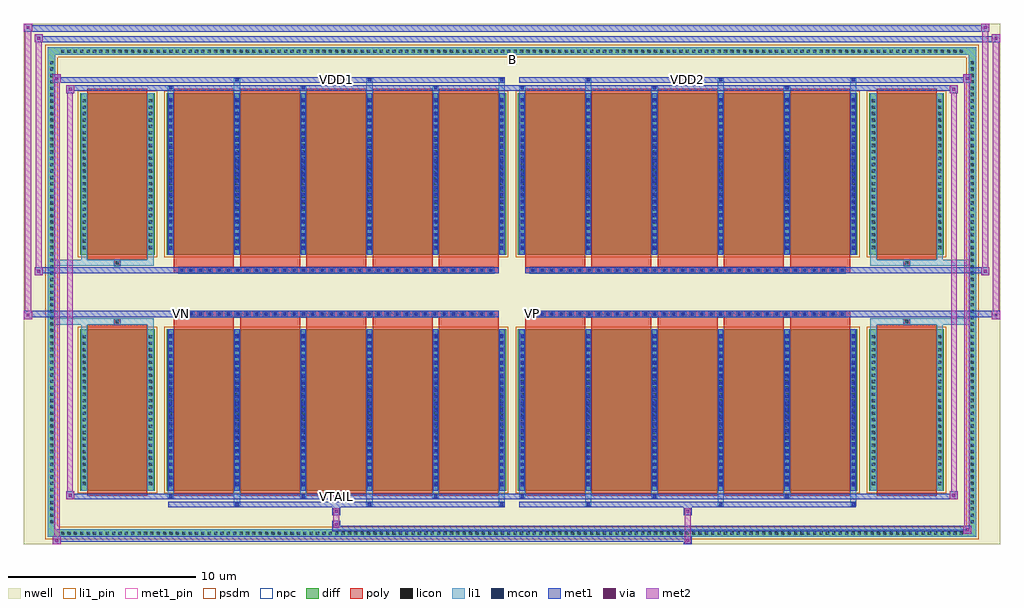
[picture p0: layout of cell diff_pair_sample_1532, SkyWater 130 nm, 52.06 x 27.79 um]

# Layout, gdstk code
import gdstk
lib = gdstk.Library(unit=1e-6, precision=5e-09)
def R(c, l, rs):  # rectangles x0, y0, x1, y1
    for r in rs: c.add(gdstk.rectangle(r[:2], r[2:], *l))
def A(c, l, x, y, w, h, nx, ny, dx, dy):  # array of equal rectangles
    R(c, l, [(x+i*dx, y+j*dy, x+i*dx+w, y+j*dy+h) for i in range(nx) for j in range(ny)])
def P(c, l, *ps):  # polygons
    for p in ps: c.add(gdstk.Polygon(p, *l))
nwell = (64, 20)
diff = (65, 20)
poly = (66, 20)
licon = (66, 44)
li1_pin = (67, 16)
li1 = (67, 20)
mcon = (67, 44)
met1_pin = (68, 16)
met1 = (68, 20)
via = (68, 44)
met2 = (69, 20)
psdm = (94, 20)
npc = (95, 20)

diff_pair_sample_1532 = lib.new_cell('diff_pair_sample_1532')
R(diff_pair_sample_1532, nwell, [(-26.03,-13.46,26.03,14.33), (-23.35,-11.65,-0.01,-0.805), (0.01,-11.65,23.35,-0.805), (-23.35,0.805,-0.01,11.65), (0.01,0.805,23.35,11.65)])
A(diff_pair_sample_1532, diff, -24.175, -13.06, 0.41, 0.41, 142, 2, 0.34, 25.71)
A(diff_pair_sample_1532, diff, -24.76, -12.445, 0.41, 0.41, 1, 73, 0, 0.34)
A(diff_pair_sample_1532, diff, 24.35, -12.445, 0.41, 0.41, 1, 73, 0, 0.34)
R(diff_pair_sample_1532, diff, [(-24.175,-13.06,24.175,-12.65), (-24.76,-12.445,-24.35,12.445), (24.35,-12.445,24.76,12.445), (-23.04,-10.605,-19.06,-1.985), (-18.42,-10.605,-0.32,-1.985), (0.32,-10.605,18.42,-1.985), (19.06,-10.605,23.04,-1.985), (-23.04,1.985,-19.06,10.605), (-18.42,1.985,-0.32,10.605), (0.32,1.985,18.42,10.605), (19.06,1.985,23.04,10.605), (-24.175,12.65,24.175,13.06)])
P(diff_pair_sample_1532, diff, [(24.76,13.06),(-24.76,13.06),(-24.76,-12.65),(-24.35,-12.65),(-24.35,12.65),(24.35,12.65),(24.35,-12.65),(-24.35,-12.65),(-24.76,-12.65),(-24.76,-13.06),(24.76,-13.06)])
A(diff_pair_sample_1532, poly, -18.03, -10.855, 3.2, 9.12, 5, 2, 3.53, 12.59)
A(diff_pair_sample_1532, poly, 0.71, -10.855, 3.2, 9.12, 5, 2, 3.53, 12.59)
A(diff_pair_sample_1532, poly, -18.03, -1.735, 3.2, 0.4, 5, 2, 3.53, 3.07)
A(diff_pair_sample_1532, poly, 0.71, -1.735, 3.2, 0.4, 5, 2, 3.53, 3.07)
A(diff_pair_sample_1532, poly, -17.785, -1.335, 0.33, 0.33, 34, 2, 0.5, 2.34)
A(diff_pair_sample_1532, poly, 0.955, -1.335, 0.33, 0.33, 34, 2, 0.5, 2.34)
R(diff_pair_sample_1532, poly, [(-22.65,-10.855,-19.45,-1.735), (19.45,-10.855,22.65,-1.735), (-21.215,-1.735,-20.885,-1.405), (-21.215,-1.735,-20.885,-1.405), (20.885,-1.735,21.215,-1.405), (20.885,-1.735,21.215,-1.405), (-18.03,-1.335,-0.71,-1.005), (0.71,-1.335,18.03,-1.005), (-18.03,1.005,-0.71,1.335), (0.71,1.005,18.03,1.335), (-21.215,1.405,-20.885,1.735), (-21.215,1.405,-20.885,1.735), (20.885,1.405,21.215,1.735), (20.885,1.405,21.215,1.735), (-22.65,1.735,-19.45,10.855), (19.45,1.735,22.65,10.855)])
A(diff_pair_sample_1532, licon, -24.055, -12.94, 0.17, 0.17, 142, 2, 0.34, 25.71)
A(diff_pair_sample_1532, licon, -24.64, -12.325, 0.17, 0.17, 1, 73, 0, 0.34)
A(diff_pair_sample_1532, licon, 24.47, -12.325, 0.17, 0.17, 1, 73, 0, 0.34)
A(diff_pair_sample_1532, licon, -22.9, -10.29, 0.17, 0.17, 1, 24, 0, 0.34)
A(diff_pair_sample_1532, licon, -19.37, -10.29, 0.17, 0.17, 1, 24, 0, 0.34)
A(diff_pair_sample_1532, licon, -18.28, -10.29, 0.17, 0.17, 6, 24, 3.53, 0.34)
A(diff_pair_sample_1532, licon, 0.46, -10.29, 0.17, 0.17, 6, 24, 3.53, 0.34)
A(diff_pair_sample_1532, licon, 19.2, -10.29, 0.17, 0.17, 1, 24, 0, 0.34)
A(diff_pair_sample_1532, licon, 22.73, -10.29, 0.17, 0.17, 1, 24, 0, 0.34)
A(diff_pair_sample_1532, licon, -17.705, -1.255, 0.17, 0.17, 34, 2, 0.5, 2.34)
A(diff_pair_sample_1532, licon, 1.035, -1.255, 0.17, 0.17, 34, 2, 0.5, 2.34)
A(diff_pair_sample_1532, licon, -22.9, 2.3, 0.17, 0.17, 1, 24, 0, 0.34)
A(diff_pair_sample_1532, licon, -19.37, 2.3, 0.17, 0.17, 1, 24, 0, 0.34)
A(diff_pair_sample_1532, licon, -18.28, 2.3, 0.17, 0.17, 6, 24, 3.53, 0.34)
A(diff_pair_sample_1532, licon, 0.46, 2.3, 0.17, 0.17, 6, 24, 3.53, 0.34)
A(diff_pair_sample_1532, licon, 19.2, 2.3, 0.17, 0.17, 1, 24, 0, 0.34)
A(diff_pair_sample_1532, licon, 22.73, 2.3, 0.17, 0.17, 1, 24, 0, 0.34)
R(diff_pair_sample_1532, licon, [(-21.135,-1.655,-20.965,-1.485), (20.965,-1.655,21.135,-1.485), (-21.135,1.485,-20.965,1.655), (20.965,1.485,21.135,1.655)])
R(diff_pair_sample_1532, li1_pin, [(-0.25,12.15,0.25,12.65)])
A(diff_pair_sample_1532, li1, -24.135, -13.02, 0.33, 0.33, 142, 2, 0.34, 25.71)
A(diff_pair_sample_1532, li1, -24.72, -12.405, 0.33, 0.33, 1, 73, 0, 0.34)
A(diff_pair_sample_1532, li1, 24.39, -12.405, 0.33, 0.33, 1, 73, 0, 0.34)
A(diff_pair_sample_1532, li1, -14.83, -11.41, 0.33, 0.805, 3, 2, 7.06, 22.015)
A(diff_pair_sample_1532, li1, -14.75, -11.41, 0.17, 0.17, 3, 2, 7.06, 22.65)
A(diff_pair_sample_1532, li1, 3.91, -11.41, 0.33, 0.805, 3, 2, 7.06, 22.015)
A(diff_pair_sample_1532, li1, 3.99, -11.41, 0.17, 0.17, 3, 2, 7.06, 22.65)
A(diff_pair_sample_1532, li1, -18.36, -10.98, 0.33, 0.375, 3, 2, 7.06, 21.585)
A(diff_pair_sample_1532, li1, -18.28, -10.98, 0.17, 0.17, 3, 2, 7.06, 21.79)
A(diff_pair_sample_1532, li1, 0.38, -10.98, 0.33, 0.375, 3, 2, 7.06, 21.585)
A(diff_pair_sample_1532, li1, 0.46, -10.98, 0.17, 0.17, 3, 2, 7.06, 21.79)
A(diff_pair_sample_1532, li1, -18.36, -10.605, 0.33, 8.62, 6, 2, 3.53, 12.59)
A(diff_pair_sample_1532, li1, 0.38, -10.605, 0.33, 8.62, 6, 2, 3.53, 12.59)
A(diff_pair_sample_1532, li1, -22.98, -10.37, 0.33, 0.33, 1, 24, 0, 0.34)
A(diff_pair_sample_1532, li1, -19.45, -10.37, 0.33, 0.33, 1, 24, 0, 0.34)
A(diff_pair_sample_1532, li1, -18.36, -10.37, 0.33, 0.33, 6, 24, 3.53, 0.34)
A(diff_pair_sample_1532, li1, 0.38, -10.37, 0.33, 0.33, 6, 24, 3.53, 0.34)
A(diff_pair_sample_1532, li1, 19.12, -10.37, 0.33, 0.33, 1, 24, 0, 0.34)
A(diff_pair_sample_1532, li1, 22.65, -10.37, 0.33, 0.33, 1, 24, 0, 0.34)
A(diff_pair_sample_1532, li1, -18.28, -10.34, 0.17, 0.17, 6, 23, 3.53, 0.36)
A(diff_pair_sample_1532, li1, -18.28, -10.34, 0.17, 8.09, 6, 2, 3.53, 12.59)
A(diff_pair_sample_1532, li1, 0.46, -10.34, 0.17, 0.17, 6, 23, 3.53, 0.36)
A(diff_pair_sample_1532, li1, 0.46, -10.34, 0.17, 8.09, 6, 2, 3.53, 12.59)
A(diff_pair_sample_1532, li1, -17.785, -1.335, 0.33, 0.33, 34, 2, 0.5, 2.34)
A(diff_pair_sample_1532, li1, 0.955, -1.335, 0.33, 0.33, 34, 2, 0.5, 2.34)
A(diff_pair_sample_1532, li1, -22.98, 2.22, 0.33, 0.33, 1, 24, 0, 0.34)
A(diff_pair_sample_1532, li1, -19.45, 2.22, 0.33, 0.33, 1, 24, 0, 0.34)
A(diff_pair_sample_1532, li1, -18.36, 2.22, 0.33, 0.33, 6, 24, 3.53, 0.34)
A(diff_pair_sample_1532, li1, 0.38, 2.22, 0.33, 0.33, 6, 24, 3.53, 0.34)
A(diff_pair_sample_1532, li1, 19.12, 2.22, 0.33, 0.33, 1, 24, 0, 0.34)
A(diff_pair_sample_1532, li1, 22.65, 2.22, 0.33, 0.33, 1, 24, 0, 0.34)
A(diff_pair_sample_1532, li1, -18.28, 2.25, 0.17, 0.17, 6, 23, 3.53, 0.36)
A(diff_pair_sample_1532, li1, 0.46, 2.25, 0.17, 0.17, 6, 23, 3.53, 0.36)
R(diff_pair_sample_1532, li1, [(-24.76,-13.06,-24.35,-12.65), (-24.76,-13.06,-24.35,-12.65), (-24.35,-13.06,24.35,-12.65), (24.35,-13.06,24.76,-12.65), (24.35,-13.06,24.76,-12.65), (-24.76,-12.65,-24.35,12.65), (24.35,-12.65,24.76,12.65), (-22.98,-10.605,-22.65,-1.985), (-19.45,-10.605,-19.12,-1.985), (19.12,-10.605,19.45,-1.985), (22.65,-10.605,22.98,-1.985), (-22.98,-1.985,-22.65,-1.405), (-19.45,-1.985,-19.12,-1.405), (19.12,-1.985,19.45,-1.405), (22.65,-1.985,22.98,-1.405), (-24.76,-1.735,-21.215,-1.405), (-22.98,-1.735,-21.215,-1.405), (-21.215,-1.735,-20.885,-1.405), (-20.885,-1.735,-19.12,-1.405), (19.12,-1.735,20.885,-1.405), (20.885,-1.735,21.215,-1.405), (20.885,-1.735,24.76,-1.405), (21.215,-1.735,22.98,-1.405), (-24.76,1.405,-21.215,1.735), (-22.98,1.405,-21.215,1.735), (-22.98,1.405,-22.65,1.985), (-21.215,1.405,-20.885,1.735), (-20.885,1.405,-19.12,1.735), (-19.45,1.405,-19.12,1.985), (19.12,1.405,20.885,1.735), (19.12,1.405,19.45,1.985), (20.885,1.405,21.215,1.735), (20.885,1.405,24.76,1.735), (21.215,1.405,22.98,1.735), (22.65,1.405,22.98,1.985), (-22.98,1.985,-22.65,10.605), (-19.45,1.985,-19.12,10.605), (19.12,1.985,19.45,10.605), (22.65,1.985,22.98,10.605), (-24.76,12.65,-24.35,13.06), (-24.76,12.65,-24.35,13.06), (-24.35,12.65,24.35,13.06), (24.35,12.65,24.76,13.06), (24.35,12.65,24.76,13.06)])
A(diff_pair_sample_1532, mcon, -14.75, -11.41, 0.17, 0.17, 3, 2, 7.06, 22.65)
A(diff_pair_sample_1532, mcon, 3.99, -11.41, 0.17, 0.17, 3, 2, 7.06, 22.65)
A(diff_pair_sample_1532, mcon, -18.28, -10.98, 0.17, 0.17, 3, 2, 7.06, 21.79)
A(diff_pair_sample_1532, mcon, 0.46, -10.98, 0.17, 0.17, 3, 2, 7.06, 21.79)
A(diff_pair_sample_1532, mcon, -18.28, -10.34, 0.17, 0.17, 6, 23, 3.53, 0.36)
A(diff_pair_sample_1532, mcon, 0.46, -10.34, 0.17, 0.17, 6, 23, 3.53, 0.36)
A(diff_pair_sample_1532, mcon, -17.705, -1.255, 0.17, 0.17, 34, 2, 0.5, 2.34)
A(diff_pair_sample_1532, mcon, 1.035, -1.255, 0.17, 0.17, 34, 2, 0.5, 2.34)
A(diff_pair_sample_1532, mcon, -18.28, 2.25, 0.17, 0.17, 6, 23, 3.53, 0.36)
A(diff_pair_sample_1532, mcon, 0.46, 2.25, 0.17, 0.17, 6, 23, 3.53, 0.36)
R(diff_pair_sample_1532, met1_pin, [(-9.505,-11.02,-9.235,-10.75), (-17.755,-1.295,-17.485,-1.025), (0.985,-1.295,1.255,-1.025), (-9.505,11.2,-9.235,11.47), (9.235,11.2,9.505,11.47)])
A(diff_pair_sample_1532, met1, -14.81, -11.47, 0.29, 0.29, 3, 2, 7.06, 22.65)
A(diff_pair_sample_1532, met1, 3.93, -11.47, 0.29, 0.29, 3, 2, 7.06, 22.65)
A(diff_pair_sample_1532, met1, -18.34, -11.04, 0.29, 0.29, 3, 2, 7.06, 21.79)
A(diff_pair_sample_1532, met1, 0.4, -11.04, 0.29, 0.29, 3, 2, 7.06, 21.79)
A(diff_pair_sample_1532, met1, -18.34, -10.605, 0.29, 8.62, 6, 2, 3.53, 12.59)
A(diff_pair_sample_1532, met1, 0.4, -10.605, 0.29, 8.62, 6, 2, 3.53, 12.59)
A(diff_pair_sample_1532, met1, -18.34, -10.4, 0.29, 0.29, 6, 23, 3.53, 0.36)
A(diff_pair_sample_1532, met1, 0.4, -10.4, 0.29, 0.29, 6, 23, 3.53, 0.36)
A(diff_pair_sample_1532, met1, -17.765, -1.315, 0.29, 0.29, 34, 2, 0.5, 2.34)
A(diff_pair_sample_1532, met1, 0.975, -1.315, 0.29, 0.29, 34, 2, 0.5, 2.34)
A(diff_pair_sample_1532, met1, -18.34, 2.19, 0.29, 0.29, 6, 23, 3.53, 0.36)
A(diff_pair_sample_1532, met1, 0.4, 2.19, 0.29, 0.29, 6, 23, 3.53, 0.36)
R(diff_pair_sample_1532, met1, [(-24.49,-13.46,-24.06,-13.03), (9.155,-13.46,9.585,-13.03), (-24.49,-13.32,9.585,-13.03), (24.06,-12.89,24.49,-12.46), (-9.585,-12.75,24.49,-12.46), (-9.585,-12.61,-9.155,-12.18), (-9.585,-11.9,-9.155,-11.47), (9.155,-11.9,9.585,-11.47), (-18.34,-11.47,-0.4,-11.18), (0.4,-11.47,18.34,-11.18), (-23.78,-11.04,-23.35,-10.61), (-23.78,-11.04,-18.34,-10.75), (-18.34,-11.04,-0.4,-10.75), (-0.4,-11.04,0.4,-10.75), (0.4,-11.04,18.34,-10.75), (18.34,-11.04,23.78,-10.75), (23.35,-11.04,23.78,-10.61), (-26.03,-1.435,-25.6,-1.005), (25.6,-1.435,26.03,-1.005), (-26.03,-1.335,-0.71,-1.005), (-18.03,-1.335,-0.71,-1.005), (0.71,-1.335,18.03,-1.005), (0.71,-1.335,26.03,-1.005), (-25.46,0.905,-25.03,1.335), (25.03,0.905,25.46,1.335), (-25.46,1.005,-18.03,1.335), (-18.03,1.005,-0.71,1.335), (0.71,1.005,18.03,1.335), (18.03,1.005,25.46,1.335), (-23.78,10.61,-23.35,11.04), (23.35,10.61,23.78,11.04), (-23.78,10.75,-18.34,11.04), (-18.34,10.75,-0.4,11.04), (-0.4,10.75,0.4,11.04), (0.4,10.75,18.34,11.04), (18.34,10.75,23.78,11.04), (-24.49,11.18,-24.06,11.61), (-24.49,11.18,-18.34,11.47), (-18.34,11.18,-0.4,11.47), (0.4,11.18,18.34,11.47), (18.34,11.18,24.49,11.47), (24.06,11.18,24.49,11.61), (-25.46,13.33,-25.03,13.76), (-25.46,13.33,-23.35,13.66), (-23.35,13.33,23.35,13.66), (23.35,13.33,26.03,13.66), (25.6,13.33,26.03,13.76), (-26.03,13.9,-25.6,14.33), (-26.03,13.9,-23.35,14.23), (-23.35,13.9,23.35,14.23), (23.35,13.9,25.46,14.23), (25.03,13.9,25.46,14.33)])
R(diff_pair_sample_1532, via, [(-24.35,-13.32,-24.2,-13.17), (9.295,-13.32,9.445,-13.17), (24.2,-12.75,24.35,-12.6), (-9.445,-12.47,-9.295,-12.32), (-9.445,-11.76,-9.295,-11.61), (9.295,-11.76,9.445,-11.61), (-23.64,-10.9,-23.49,-10.75), (23.49,-10.9,23.64,-10.75), (-25.89,-1.295,-25.74,-1.145), (25.74,-1.295,25.89,-1.145), (-25.32,1.045,-25.17,1.195), (25.17,1.045,25.32,1.195), (-23.64,10.75,-23.49,10.9), (23.49,10.75,23.64,10.9), (-24.35,11.32,-24.2,11.47), (24.2,11.32,24.35,11.47), (-25.32,13.47,-25.17,13.62), (25.74,13.47,25.89,13.62), (-25.89,14.04,-25.74,14.19), (25.17,14.04,25.32,14.19)])
R(diff_pair_sample_1532, met2, [(-24.49,-13.46,-24.06,-13.03), (-24.42,-13.46,-24.13,11.61), (-24.13,-13.46,-24.06,-13.03), (-24.44,-13.41,-24.11,-13.08), (9.205,-13.41,9.535,-13.08), (9.205,-13.08,9.535,-11.85), (24.06,-12.89,24.49,-12.46), (24.13,-12.89,24.42,11.61), (24.42,-12.89,24.49,-12.46), (24.11,-12.84,24.44,-12.51), (-9.535,-12.56,-9.205,-12.23), (-9.535,-12.23,-9.205,-11.85), (-9.535,-11.85,-9.205,-11.52), (9.205,-11.85,9.535,-11.52), (-23.78,-11.04,-23.35,-10.61), (-23.71,-11.04,-23.42,11.04), (-23.42,-11.04,-23.35,-10.61), (23.35,-11.04,23.78,-10.61), (23.42,-11.04,23.71,11.04), (23.71,-11.04,23.78,-10.61), (-23.73,-10.99,-23.4,-10.66), (23.4,-10.99,23.73,-10.66), (-26.03,-1.435,-25.6,-1.005), (-25.98,-1.435,-25.65,14.33), (-25.65,-1.435,-25.6,-1.005), (25.6,-1.435,26.03,-1.005), (25.65,-1.435,25.98,13.76), (25.98,-1.435,26.03,-1.005), (-25.98,-1.385,-25.65,-1.055), (25.65,-1.385,25.98,-1.055), (-25.46,0.905,-25.03,1.335), (-25.41,0.905,-25.08,13.76), (-25.08,0.905,-25.03,1.335), (25.03,0.905,25.46,1.335), (25.08,0.905,25.41,14.33), (25.41,0.905,25.46,1.335), (-25.41,0.955,-25.08,1.285), (25.08,0.955,25.41,1.285), (-23.78,10.61,-23.35,11.04), (-23.42,10.61,-23.35,11.04), (23.35,10.61,23.78,11.04), (23.71,10.61,23.78,11.04), (-23.73,10.66,-23.4,10.99), (23.4,10.66,23.73,10.99), (-24.49,11.18,-24.06,11.61), (-24.13,11.18,-24.06,11.61), (24.06,11.18,24.49,11.61), (24.42,11.18,24.49,11.61), (-24.44,11.23,-24.11,11.56), (24.11,11.23,24.44,11.56), (-25.46,13.33,-25.03,13.76), (-25.08,13.33,-25.03,13.76), (25.6,13.33,26.03,13.76), (25.98,13.33,26.03,13.76), (-25.41,13.38,-25.08,13.71), (25.65,13.38,25.98,13.71), (-26.03,13.9,-25.6,14.33), (-25.65,13.9,-25.6,14.33), (25.03,13.9,25.46,14.33), (25.41,13.9,25.46,14.33), (-25.98,13.95,-25.65,14.28), (25.08,13.95,25.41,14.28)])
R(diff_pair_sample_1532, psdm, [(-23.17,-10.735,-18.93,-1.855), (-18.55,-10.735,-0.19,-1.855), (0.19,-10.735,18.55,-1.855), (18.93,-10.735,23.17,-1.855), (-23.17,1.855,-18.93,10.735), (-18.55,1.855,-0.19,10.735), (0.19,1.855,18.55,10.735), (18.93,1.855,23.17,10.735)])
P(diff_pair_sample_1532, psdm, [(24.89,13.19),(-24.89,13.19),(-24.89,-12.52),(-24.22,-12.52),(-24.22,12.52),(24.22,12.52),(24.22,-12.52),(-24.22,-12.52),(-24.89,-12.52),(-24.89,-13.19),(24.89,-13.19)])
A(diff_pair_sample_1532, npc, -17.805, -1.355, 0.37, 0.37, 34, 2, 0.5, 2.34)
A(diff_pair_sample_1532, npc, 0.935, -1.355, 0.37, 0.37, 34, 2, 0.5, 2.34)
R(diff_pair_sample_1532, npc, [(-21.235,-1.755,-20.865,-1.385), (20.865,-1.755,21.235,-1.385), (-17.805,-1.355,-16.935,-0.985), (-17.805,-1.355,-16.935,-0.985), (-17.305,-1.355,-16.435,-0.985), (-17.305,-1.355,-16.435,-0.985), (-16.805,-1.355,-15.935,-0.985), (-16.805,-1.355,-15.935,-0.985), (-16.305,-1.355,-15.435,-0.985), (-16.305,-1.355,-15.435,-0.985), (-15.805,-1.355,-14.935,-0.985), (-15.805,-1.355,-14.935,-0.985), (-15.305,-1.355,-14.435,-0.985), (-15.305,-1.355,-14.435,-0.985), (-14.805,-1.355,-13.935,-0.985), (-14.805,-1.355,-13.935,-0.985), (-14.305,-1.355,-13.435,-0.985), (-14.305,-1.355,-13.435,-0.985), (-13.805,-1.355,-12.935,-0.985), (-13.805,-1.355,-12.935,-0.985), (-13.305,-1.355,-12.435,-0.985), (-13.305,-1.355,-12.435,-0.985), (-12.805,-1.355,-11.935,-0.985), (-12.805,-1.355,-11.935,-0.985), (-12.305,-1.355,-11.435,-0.985), (-12.305,-1.355,-11.435,-0.985), (-11.805,-1.355,-10.935,-0.985), (-11.805,-1.355,-10.935,-0.985), (-11.305,-1.355,-10.435,-0.985), (-11.305,-1.355,-10.435,-0.985), (-10.805,-1.355,-9.935,-0.985), (-10.805,-1.355,-9.935,-0.985), (-10.305,-1.355,-9.435,-0.985), (-10.305,-1.355,-9.435,-0.985), (-9.805,-1.355,-8.935,-0.985), (-9.805,-1.355,-8.935,-0.985), (-9.305,-1.355,-8.435,-0.985), (-9.305,-1.355,-8.435,-0.985), (-8.805,-1.355,-7.935,-0.985), (-8.805,-1.355,-7.935,-0.985), (-8.305,-1.355,-7.435,-0.985), (-8.305,-1.355,-7.435,-0.985), (-7.805,-1.355,-6.935,-0.985), (-7.805,-1.355,-6.935,-0.985), (-7.305,-1.355,-6.435,-0.985), (-7.305,-1.355,-6.435,-0.985), (-6.805,-1.355,-5.935,-0.985), (-6.805,-1.355,-5.935,-0.985), (-6.305,-1.355,-5.435,-0.985), (-6.305,-1.355,-5.435,-0.985), (-5.805,-1.355,-4.935,-0.985), (-5.805,-1.355,-4.935,-0.985), (-5.305,-1.355,-4.435,-0.985), (-5.305,-1.355,-4.435,-0.985), (-4.805,-1.355,-3.935,-0.985), (-4.805,-1.355,-3.935,-0.985), (-4.305,-1.355,-3.435,-0.985), (-4.305,-1.355,-3.435,-0.985), (-3.805,-1.355,-2.935,-0.985), (-3.805,-1.355,-2.935,-0.985), (-3.305,-1.355,-2.435,-0.985), (-3.305,-1.355,-2.435,-0.985), (-2.805,-1.355,-1.935,-0.985), (-2.805,-1.355,-1.935,-0.985), (-2.305,-1.355,-1.435,-0.985), (-2.305,-1.355,-1.435,-0.985), (-1.805,-1.355,-0.935,-0.985), (-1.805,-1.355,-0.935,-0.985), (0.935,-1.355,1.805,-0.985), (0.935,-1.355,1.805,-0.985), (1.435,-1.355,2.305,-0.985), (1.435,-1.355,2.305,-0.985), (1.935,-1.355,2.805,-0.985), (1.935,-1.355,2.805,-0.985), (2.435,-1.355,3.305,-0.985), (2.435,-1.355,3.305,-0.985), (2.935,-1.355,3.805,-0.985), (2.935,-1.355,3.805,-0.985), (3.435,-1.355,4.305,-0.985), (3.435,-1.355,4.305,-0.985), (3.935,-1.355,4.805,-0.985), (3.935,-1.355,4.805,-0.985), (4.435,-1.355,5.305,-0.985), (4.435,-1.355,5.305,-0.985), (4.935,-1.355,5.805,-0.985), (4.935,-1.355,5.805,-0.985), (5.435,-1.355,6.305,-0.985), (5.435,-1.355,6.305,-0.985), (5.935,-1.355,6.805,-0.985), (5.935,-1.355,6.805,-0.985), (6.435,-1.355,7.305,-0.985), (6.435,-1.355,7.305,-0.985), (6.935,-1.355,7.805,-0.985), (6.935,-1.355,7.805,-0.985), (7.435,-1.355,8.305,-0.985), (7.435,-1.355,8.305,-0.985), (7.935,-1.355,8.805,-0.985), (7.935,-1.355,8.805,-0.985), (8.435,-1.355,9.305,-0.985), (8.435,-1.355,9.305,-0.985), (8.935,-1.355,9.805,-0.985), (8.935,-1.355,9.805,-0.985), (9.435,-1.355,10.305,-0.985), (9.435,-1.355,10.305,-0.985), (9.935,-1.355,10.805,-0.985), (9.935,-1.355,10.805,-0.985), (10.435,-1.355,11.305,-0.985), (10.435,-1.355,11.305,-0.985), (10.935,-1.355,11.805,-0.985), (10.935,-1.355,11.805,-0.985), (11.435,-1.355,12.305,-0.985), (11.435,-1.355,12.305,-0.985), (11.935,-1.355,12.805,-0.985), (11.935,-1.355,12.805,-0.985), (12.435,-1.355,13.305,-0.985), (12.435,-1.355,13.305,-0.985), (12.935,-1.355,13.805,-0.985), (12.935,-1.355,13.805,-0.985), (13.435,-1.355,14.305,-0.985), (13.435,-1.355,14.305,-0.985), (13.935,-1.355,14.805,-0.985), (13.935,-1.355,14.805,-0.985), (14.435,-1.355,15.305,-0.985), (14.435,-1.355,15.305,-0.985), (14.935,-1.355,15.805,-0.985), (14.935,-1.355,15.805,-0.985), (15.435,-1.355,16.305,-0.985), (15.435,-1.355,16.305,-0.985), (15.935,-1.355,16.805,-0.985), (15.935,-1.355,16.805,-0.985), (16.435,-1.355,17.305,-0.985), (16.435,-1.355,17.305,-0.985), (16.935,-1.355,17.805,-0.985), (16.935,-1.355,17.805,-0.985), (-17.805,0.985,-16.935,1.355), (-17.805,0.985,-16.935,1.355), (-17.305,0.985,-16.435,1.355), (-17.305,0.985,-16.435,1.355), (-16.805,0.985,-15.935,1.355), (-16.805,0.985,-15.935,1.355), (-16.305,0.985,-15.435,1.355), (-16.305,0.985,-15.435,1.355), (-15.805,0.985,-14.935,1.355), (-15.805,0.985,-14.935,1.355), (-15.305,0.985,-14.435,1.355), (-15.305,0.985,-14.435,1.355), (-14.805,0.985,-13.935,1.355), (-14.805,0.985,-13.935,1.355), (-14.305,0.985,-13.435,1.355), (-14.305,0.985,-13.435,1.355), (-13.805,0.985,-12.935,1.355), (-13.805,0.985,-12.935,1.355), (-13.305,0.985,-12.435,1.355), (-13.305,0.985,-12.435,1.355), (-12.805,0.985,-11.935,1.355), (-12.805,0.985,-11.935,1.355), (-12.305,0.985,-11.435,1.355), (-12.305,0.985,-11.435,1.355), (-11.805,0.985,-10.935,1.355), (-11.805,0.985,-10.935,1.355), (-11.305,0.985,-10.435,1.355), (-11.305,0.985,-10.435,1.355), (-10.805,0.985,-9.935,1.355), (-10.805,0.985,-9.935,1.355), (-10.305,0.985,-9.435,1.355), (-10.305,0.985,-9.435,1.355), (-9.805,0.985,-8.935,1.355), (-9.805,0.985,-8.935,1.355), (-9.305,0.985,-8.435,1.355), (-9.305,0.985,-8.435,1.355), (-8.805,0.985,-7.935,1.355), (-8.805,0.985,-7.935,1.355), (-8.305,0.985,-7.435,1.355), (-8.305,0.985,-7.435,1.355), (-7.805,0.985,-6.935,1.355), (-7.805,0.985,-6.935,1.355), (-7.305,0.985,-6.435,1.355), (-7.305,0.985,-6.435,1.355), (-6.805,0.985,-5.935,1.355), (-6.805,0.985,-5.935,1.355), (-6.305,0.985,-5.435,1.355), (-6.305,0.985,-5.435,1.355), (-5.805,0.985,-4.935,1.355), (-5.805,0.985,-4.935,1.355), (-5.305,0.985,-4.435,1.355), (-5.305,0.985,-4.435,1.355), (-4.805,0.985,-3.935,1.355), (-4.805,0.985,-3.935,1.355), (-4.305,0.985,-3.435,1.355), (-4.305,0.985,-3.435,1.355), (-3.805,0.985,-2.935,1.355), (-3.805,0.985,-2.935,1.355), (-3.305,0.985,-2.435,1.355), (-3.305,0.985,-2.435,1.355), (-2.805,0.985,-1.935,1.355), (-2.805,0.985,-1.935,1.355), (-2.305,0.985,-1.435,1.355), (-2.305,0.985,-1.435,1.355), (-1.805,0.985,-0.935,1.355), (-1.805,0.985,-0.935,1.355), (0.935,0.985,1.805,1.355), (0.935,0.985,1.805,1.355), (1.435,0.985,2.305,1.355), (1.435,0.985,2.305,1.355), (1.935,0.985,2.805,1.355), (1.935,0.985,2.805,1.355), (2.435,0.985,3.305,1.355), (2.435,0.985,3.305,1.355), (2.935,0.985,3.805,1.355), (2.935,0.985,3.805,1.355), (3.435,0.985,4.305,1.355), (3.435,0.985,4.305,1.355), (3.935,0.985,4.805,1.355), (3.935,0.985,4.805,1.355), (4.435,0.985,5.305,1.355), (4.435,0.985,5.305,1.355), (4.935,0.985,5.805,1.355), (4.935,0.985,5.805,1.355), (5.435,0.985,6.305,1.355), (5.435,0.985,6.305,1.355), (5.935,0.985,6.805,1.355), (5.935,0.985,6.805,1.355), (6.435,0.985,7.305,1.355), (6.435,0.985,7.305,1.355), (6.935,0.985,7.805,1.355), (6.935,0.985,7.805,1.355), (7.435,0.985,8.305,1.355), (7.435,0.985,8.305,1.355), (7.935,0.985,8.805,1.355), (7.935,0.985,8.805,1.355), (8.435,0.985,9.305,1.355), (8.435,0.985,9.305,1.355), (8.935,0.985,9.805,1.355), (8.935,0.985,9.805,1.355), (9.435,0.985,10.305,1.355), (9.435,0.985,10.305,1.355), (9.935,0.985,10.805,1.355), (9.935,0.985,10.805,1.355), (10.435,0.985,11.305,1.355), (10.435,0.985,11.305,1.355), (10.935,0.985,11.805,1.355), (10.935,0.985,11.805,1.355), (11.435,0.985,12.305,1.355), (11.435,0.985,12.305,1.355), (11.935,0.985,12.805,1.355), (11.935,0.985,12.805,1.355), (12.435,0.985,13.305,1.355), (12.435,0.985,13.305,1.355), (12.935,0.985,13.805,1.355), (12.935,0.985,13.805,1.355), (13.435,0.985,14.305,1.355), (13.435,0.985,14.305,1.355), (13.935,0.985,14.805,1.355), (13.935,0.985,14.805,1.355), (14.435,0.985,15.305,1.355), (14.435,0.985,15.305,1.355), (14.935,0.985,15.805,1.355), (14.935,0.985,15.805,1.355), (15.435,0.985,16.305,1.355), (15.435,0.985,16.305,1.355), (15.935,0.985,16.805,1.355), (15.935,0.985,16.805,1.355), (16.435,0.985,17.305,1.355), (16.435,0.985,17.305,1.355), (16.935,0.985,17.805,1.355), (16.935,0.985,17.805,1.355), (-21.235,1.385,-20.865,1.755), (20.865,1.385,21.235,1.755)])
diff_pair_sample_1532.add(gdstk.Label('VTAIL', (-9.37,-10.885), layer=68, texttype=5))
diff_pair_sample_1532.add(gdstk.Label('VN', (-17.62,-1.16), layer=68, texttype=5))
diff_pair_sample_1532.add(gdstk.Label('VP', (1.12,-1.16), layer=68, texttype=5))
diff_pair_sample_1532.add(gdstk.Label('B', (0,12.4), layer=67, texttype=5))
diff_pair_sample_1532.add(gdstk.Label('VDD2', (9.37,11.335), layer=68, texttype=5))
diff_pair_sample_1532.add(gdstk.Label('VDD1', (-9.37,11.335), layer=68, texttype=5))

lib.write_gds('diff_pair_sample_1532.gds')
